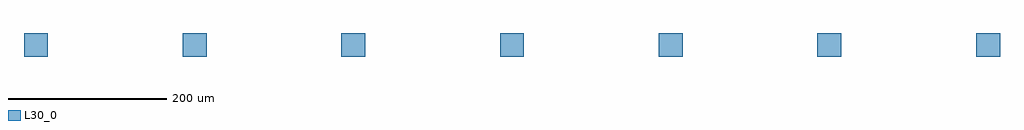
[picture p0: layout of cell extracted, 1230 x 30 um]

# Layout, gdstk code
import gdstk
lib = gdstk.Library(unit=1e-6, precision=1e-09)
def R(c, l, rs):  # rectangles x0, y0, x1, y1
    for r in rs: c.add(gdstk.rectangle(r[:2], r[2:], *l))
L30_0 = (30, 0)

extracted = lib.new_cell('extracted')
R(extracted, L30_0, [(-1614.25,-15,-1584.25,15), (-1414.25,-15,-1384.25,15), (-1414.25,-15,-1384.25,15), (-1214.25,-15,-1184.25,15), (-1214.25,-15,-1184.25,15), (-1214.25,-15,-1184.25,15), (-1014.25,-15,-984.25,15), (-1014.25,-15,-984.25,15), (-1014.25,-15,-984.25,15), (-1014.25,-15,-984.25,15), (-814.25,-15,-784.25,15), (-814.25,-15,-784.25,15), (-814.25,-15,-784.25,15), (-814.25,-15,-784.25,15), (-814.25,-15,-784.25,15), (-614.25,-15,-584.25,15), (-614.25,-15,-584.25,15), (-614.25,-15,-584.25,15), (-614.25,-15,-584.25,15), (-614.25,-15,-584.25,15), (-614.25,-15,-584.25,15), (-414.25,-15,-384.25,15), (-414.25,-15,-384.25,15), (-414.25,-15,-384.25,15), (-414.25,-15,-384.25,15), (-414.25,-15,-384.25,15), (-414.25,-15,-384.25,15), (-414.25,-15,-384.25,15)])

lib.write_gds('extracted.gds')
